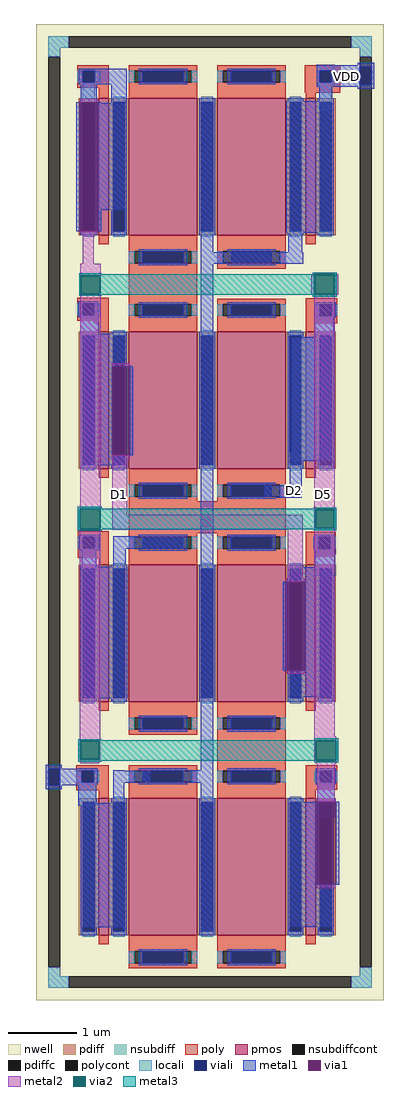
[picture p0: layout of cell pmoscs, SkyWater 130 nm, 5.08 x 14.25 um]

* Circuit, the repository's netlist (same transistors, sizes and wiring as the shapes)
** sch_path: /home/chandra_hartono/project/opamp/mag/pmoscs.sch
.subckt pmoscs VDD D5 D2 D1
*.PININFO VDD:B D5:B D2:B D1:B
XM2 D2 D2 VDD VDD sky130_fd_pr__pfet_01v8 L=1 W=2 nf=1 m=2
XM1 D1 D2 VDD VDD sky130_fd_pr__pfet_01v8 L=1 W=2 nf=1 m=2
XM5 D5 D2 VDD VDD sky130_fd_pr__pfet_01v8 L=1 W=2 nf=1 m=2
XM3 D5 D5 D5 VDD sky130_fd_pr__pfet_01v8 L=0.15 W=2 nf=1 m=2
XM4 VDD VDD VDD VDD sky130_fd_pr__pfet_01v8 L=1 W=2 nf=1 m=2
XM6 VDD VDD VDD VDD sky130_fd_pr__pfet_01v8 L=0.15 W=2 nf=1 m=2
XM7 D1 D1 D1 VDD sky130_fd_pr__pfet_01v8 L=0.15 W=2 nf=1 m=2
XM8 D2 D2 D2 VDD sky130_fd_pr__pfet_01v8 L=0.15 W=2 nf=1 m=2
.ends
.end

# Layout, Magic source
magic
tech sky130A
magscale 1 2
<< nwell >>
rect -39 247 977 3097
<< nsubdiff >>
rect -3 3027 57 3061
rect 881 3027 941 3061
rect -3 3001 31 3027
rect 907 3001 941 3027
rect -3 317 31 343
rect 907 317 941 343
rect -3 283 57 317
rect 881 283 941 317
<< nsubdiffcont >>
rect 57 3027 881 3061
rect -3 343 31 3001
rect 907 343 941 3001
rect 57 283 881 317
<< poly >>
rect 82 2961 174 2977
rect 82 2927 98 2961
rect 132 2927 174 2961
rect 82 2911 174 2927
rect 144 2904 174 2911
rect 746 2961 850 2976
rect 746 2927 790 2961
rect 824 2927 850 2961
rect 746 2896 850 2927
rect 81 2281 174 2297
rect 232 2292 432 2386
rect 81 2247 97 2281
rect 131 2247 174 2281
rect 81 2231 174 2247
rect 129 2224 174 2231
rect 748 2279 840 2296
rect 748 2245 790 2279
rect 824 2245 840 2279
rect 748 2223 840 2245
rect 83 1600 174 1616
rect 232 1610 690 1704
rect 83 1566 99 1600
rect 133 1566 174 1600
rect 83 1539 174 1566
rect 748 1599 836 1615
rect 748 1565 786 1599
rect 820 1565 836 1599
rect 748 1549 836 1565
rect 748 1543 835 1549
rect 78 917 174 933
rect 490 928 690 1024
rect 78 883 95 917
rect 129 883 174 917
rect 78 860 174 883
rect 748 917 841 933
rect 748 883 790 917
rect 824 883 841 917
rect 748 861 841 883
<< polycont >>
rect 98 2927 132 2961
rect 790 2927 824 2961
rect 97 2247 131 2281
rect 790 2245 824 2279
rect 99 1566 133 1600
rect 786 1565 820 1599
rect 95 883 129 917
rect 790 883 824 917
<< locali >>
rect -3 3027 57 3061
rect 881 3027 941 3061
rect -3 3001 31 3027
rect 907 3001 941 3027
rect 780 2961 834 2978
rect 82 2927 98 2961
rect 132 2927 148 2961
rect 780 2927 790 2961
rect 824 2927 834 2961
rect 98 2880 132 2927
rect 780 2918 834 2927
rect 788 2846 824 2918
rect 81 2247 97 2281
rect 131 2247 147 2281
rect 774 2274 790 2279
rect 90 2175 144 2247
rect 773 2245 790 2274
rect 824 2245 840 2279
rect 773 2183 831 2245
rect 706 2178 831 2183
rect 706 1821 824 2178
rect 83 1566 99 1600
rect 133 1566 149 1600
rect 94 1503 137 1566
rect 770 1565 786 1599
rect 820 1565 836 1599
rect 776 1486 835 1565
rect 79 883 95 917
rect 129 883 145 917
rect 774 883 790 917
rect 824 883 840 917
rect 84 814 137 883
rect 782 781 834 883
rect -3 317 31 343
rect 907 317 941 343
rect -3 283 57 317
rect 881 283 941 317
<< viali >>
rect 98 2927 132 2961
rect 790 2927 824 2961
rect 906 2920 907 2972
rect 907 2920 941 2972
rect 941 2920 942 2972
rect 97 2247 131 2281
rect 790 2245 824 2279
rect 99 1566 133 1600
rect 786 1565 820 1599
rect -4 874 -3 922
rect -3 874 30 922
rect 95 883 129 917
rect 790 883 824 917
<< metal1 >>
rect 780 2976 834 2978
rect 900 2976 948 2984
rect 780 2972 948 2976
rect 86 2961 226 2967
rect 86 2927 98 2961
rect 132 2927 226 2961
rect 86 2921 226 2927
rect 92 2880 138 2921
rect 180 2872 226 2921
rect 780 2961 906 2972
rect 780 2927 790 2961
rect 824 2927 906 2961
rect 780 2920 906 2927
rect 942 2920 948 2972
rect 780 2914 948 2920
rect 788 2871 826 2914
rect 900 2908 948 2914
rect 79 2492 89 2868
rect 141 2865 151 2868
rect 141 2554 218 2865
rect 141 2492 151 2554
rect 442 2431 478 2866
rect 691 2488 828 2871
rect 697 2431 738 2488
rect 442 2397 742 2431
rect 85 2281 143 2287
rect 85 2247 97 2281
rect 131 2252 143 2281
rect 131 2247 144 2252
rect 85 2241 144 2247
rect 90 2192 144 2241
rect 90 2175 219 2192
rect 94 2097 219 2175
rect 94 1838 182 2097
rect 234 1838 244 2097
rect 94 1809 219 1838
rect 87 1600 145 1606
rect 87 1566 99 1600
rect 133 1566 145 1600
rect 87 1560 145 1566
rect 187 1564 394 1601
rect 94 1512 137 1560
rect 187 1512 223 1564
rect 91 1128 228 1512
rect -10 922 36 934
rect 83 922 141 923
rect -10 874 -4 922
rect 30 917 141 922
rect 442 918 478 2397
rect 778 2279 836 2285
rect 778 2274 790 2279
rect 773 2245 790 2274
rect 824 2245 836 2279
rect 773 2239 836 2245
rect 773 2183 831 2239
rect 706 2178 831 2183
rect 706 1845 824 2178
rect 702 1821 824 1845
rect 702 1749 737 1821
rect 627 1713 737 1749
rect 774 1599 832 1605
rect 774 1565 786 1599
rect 820 1591 832 1599
rect 820 1565 835 1591
rect 774 1559 835 1565
rect 776 1511 835 1559
rect 696 1486 835 1511
rect 696 1468 831 1486
rect 683 1209 693 1468
rect 745 1209 831 1468
rect 696 1133 831 1209
rect 30 883 95 917
rect 129 883 141 917
rect 30 877 141 883
rect 186 916 218 918
rect 186 881 294 916
rect 390 882 479 918
rect 778 917 836 923
rect 778 883 790 917
rect 824 883 836 917
rect 30 874 138 877
rect -10 862 36 874
rect 84 821 137 874
rect 186 824 218 881
rect 186 821 220 824
rect 84 814 220 821
rect 91 459 220 814
rect 214 448 220 459
rect 442 448 478 882
rect 778 877 836 883
rect 782 826 834 877
rect 770 825 780 826
rect 703 584 780 825
rect 836 584 846 826
rect 703 461 825 584
<< via1 >>
rect 89 2492 141 2868
rect 182 1838 234 2097
rect 693 1209 745 1468
rect 780 584 836 826
<< metal2 >>
rect 89 2868 141 2878
rect 89 2482 141 2492
rect 97 2397 130 2482
rect 90 2364 150 2397
rect 90 2308 92 2364
rect 148 2308 150 2364
rect 90 1691 150 2308
rect 765 2306 774 2366
rect 834 2306 843 2366
rect 182 2097 234 2107
rect 182 1828 234 1838
rect 88 1682 150 1691
rect 148 1622 150 1682
rect 88 1620 150 1622
rect 183 1664 227 1828
rect 774 1680 834 2306
rect 183 1620 740 1664
rect 88 1004 148 1620
rect 696 1478 740 1620
rect 774 1624 776 1680
rect 832 1624 834 1680
rect 693 1468 745 1478
rect 693 1199 745 1209
rect 88 948 90 1004
rect 146 948 148 1004
rect 88 946 148 948
rect 774 1015 834 1624
rect 774 1006 838 1015
rect 774 946 778 1006
rect 90 939 146 946
rect 774 942 838 946
rect 778 937 838 942
rect 782 836 834 937
rect 780 826 836 836
rect 780 574 836 584
<< via2 >>
rect 92 2308 148 2364
rect 774 2306 834 2366
rect 88 1622 148 1682
rect 776 1624 832 1680
rect 90 948 146 1004
rect 778 946 838 1006
<< metal3 >>
rect 87 2366 153 2369
rect 769 2366 839 2371
rect 87 2364 774 2366
rect 87 2308 92 2364
rect 148 2308 774 2364
rect 87 2306 774 2308
rect 834 2306 839 2366
rect 87 2303 153 2306
rect 769 2301 839 2306
rect 83 1682 153 1687
rect 771 1682 837 1685
rect 83 1622 88 1682
rect 148 1680 837 1682
rect 148 1624 776 1680
rect 832 1624 837 1680
rect 148 1622 837 1624
rect 83 1617 153 1622
rect 771 1619 837 1622
rect 85 1006 151 1009
rect 773 1006 843 1011
rect 85 1004 778 1006
rect 85 948 90 1004
rect 146 948 778 1004
rect 85 946 778 948
rect 838 946 843 1006
rect 85 943 151 946
rect 773 941 843 946
use sky130_fd_pr__pfet_01v8_2ZH9AN  sky130_fd_pr__pfet_01v8_2ZH9AN_8
transform 1 0 763 0 1 2680
box -109 -262 109 262
use sky130_fd_pr__pfet_01v8_2ZH9AN  sky130_fd_pr__pfet_01v8_2ZH9AN_9
transform 1 0 159 0 1 2680
box -109 -262 109 262
use sky130_fd_pr__pfet_01v8_2ZH9AN  sky130_fd_pr__pfet_01v8_2ZH9AN_10
transform 1 0 763 0 1 1998
box -109 -262 109 262
use sky130_fd_pr__pfet_01v8_2ZH9AN  sky130_fd_pr__pfet_01v8_2ZH9AN_11
transform 1 0 159 0 1 1998
box -109 -262 109 262
use sky130_fd_pr__pfet_01v8_2ZH9AN  sky130_fd_pr__pfet_01v8_2ZH9AN_12
transform 1 0 763 0 1 1318
box -109 -262 109 262
use sky130_fd_pr__pfet_01v8_2ZH9AN  sky130_fd_pr__pfet_01v8_2ZH9AN_13
transform 1 0 159 0 1 1318
box -109 -262 109 262
use sky130_fd_pr__pfet_01v8_2ZH9AN  sky130_fd_pr__pfet_01v8_2ZH9AN_14
transform 1 0 159 0 1 636
box -109 -262 109 262
use sky130_fd_pr__pfet_01v8_2ZH9AN  sky130_fd_pr__pfet_01v8_2ZH9AN_15
transform 1 0 763 0 1 636
box -109 -262 109 262
use sky130_fd_pr__pfet_01v8_SDE6B7  sky130_fd_pr__pfet_01v8_SDE6B7_4
transform 1 0 461 0 1 2680
box -323 -300 323 300
use sky130_fd_pr__pfet_01v8_SDE6B7  sky130_fd_pr__pfet_01v8_SDE6B7_5
transform 1 0 461 0 1 1998
box -323 -300 323 300
use sky130_fd_pr__pfet_01v8_SDE6B7  sky130_fd_pr__pfet_01v8_SDE6B7_6
transform 1 0 461 0 1 1318
box -323 -300 323 300
use sky130_fd_pr__pfet_01v8_SDE6B7  sky130_fd_pr__pfet_01v8_SDE6B7_7
transform 1 0 461 0 1 636
box -323 -300 323 300
<< labels >>
flabel metal1 868 2944 868 2944 0 FreeSans 160 0 0 0 VDD
port 0 nsew
flabel metal2 206 1722 206 1722 0 FreeSans 160 0 0 0 D1
port 1 nsew
flabel metal1 716 1734 716 1734 0 FreeSans 160 0 0 0 D2
port 2 nsew
flabel metal2 800 1722 800 1722 0 FreeSans 160 0 0 0 D5
port 3 nsew
<< end >>

# cell sky130_fd_pr__pfet_01v8_2ZH9AN: kit device sky130_fd_pr__pfet_01v8, w 2 l 0.15 m 1 nf 1 diffcov 100 polycov 100 guard 0 glc 1 grc 1 gtc 1 gbc 1 tbcov 100 rlcov 100 topc 0 botc 0 poverlap 0 doverlap 1 lmin 0.15 wmin 0.42 compatible {sky130_fd_pr__pfet_01v8 sky130_fd_pr__pfet_01v8_lvt sky130_fd_pr__pfet_01v8_hvt sky130_fd_pr__pfet_g5v0d10v5} full_metal 1 viasrc 100 viadrn 100 viagate 100 viagb 0 viagr 0 viagl 0 viagt 0

# cell sky130_fd_pr__pfet_01v8_SDE6B7: kit device sky130_fd_pr__pfet_01v8, w 2 l 1 m 1 nf 2 diffcov 100 polycov 100 guard 0 glc 1 grc 1 gtc 1 gbc 1 tbcov 100 rlcov 100 topc 1 botc 1 poverlap 0 doverlap 1 lmin 0.15 wmin 0.42 compatible {sky130_fd_pr__pfet_01v8 sky130_fd_pr__pfet_01v8_lvt sky130_fd_pr__pfet_01v8_hvt sky130_fd_pr__pfet_g5v0d10v5} full_metal 1 viasrc 100 viadrn 100 viagate 70 viagb 0 viagr 0 viagl 0 viagt 0
